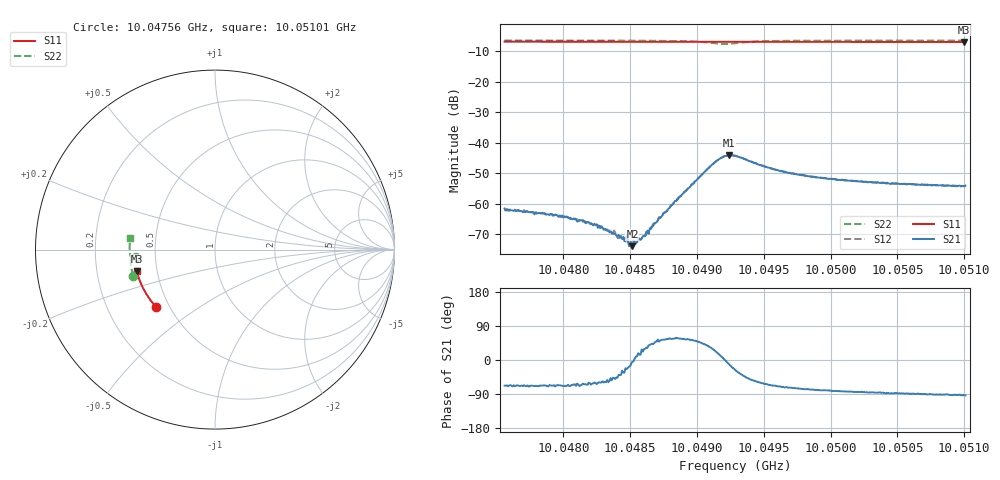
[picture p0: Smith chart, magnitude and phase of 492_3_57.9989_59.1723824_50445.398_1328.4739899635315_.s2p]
#  HZ  S  RI  R  50.00
! Rohde & Schwarz Vector Network Analyzer
! Rohde-Schwarz,ZNB20-2Port,1311601062101988,3.16
! Created: UTC 3/21/2024, 1:12:20 AM
! freq[Hz]  re:S11  im:S11  re:S21  im:S21  re:S12  im:S12  re:S22  im:S22
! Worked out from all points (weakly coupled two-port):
!   401 points, 10.04756 GHz to 10.05101 GHz, reference 50 ohm
!   highest |S21| = -44.13 dB at 10.04924 GHz (marker M1); lowest = -73.9 dB at 10.04852 GHz (marker M2)
!   lowest |S11| = -6.9 dB at 10.051 GHz (marker M3), VSWR 2.65, Z = 19.2 - j5.82 ohm
!   |S11| at or under -10 dB: nowhere
!   |S22| runs from -7.5 to -6.4 dB; largest |S21 - S12| = 0.00045
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1.004756e10  -0.3302 -0.3178  0.000318 -0.000773  0.000332 -0.000725  -0.456 -0.1463
1.0047896e10  -0.3446 -0.3009  0.00026 -0.000591  0.000295 -0.000601  -0.4617 -0.1238
1.0048138e10  -0.3545 -0.2883  0.000226 -0.000487  0.00025 -0.000484  -0.4653 -0.107
1.0048267e10  -0.3596 -0.2815  0.000223 -0.000365  0.000244 -0.000362  -0.4668 -0.0978
1.004837e10  -0.3637 -0.2761  0.000223 -0.000237  0.00024 -0.000235  -0.4678 -0.0898
1.0048414e10  -0.3653 -0.2736  0.000238 -0.000194  0.000219 -0.000159  -0.468 -0.0864
1.0048465e10  -0.3672 -0.2709  0.000224 -8.84e-05  0.000234 -0.000139  -0.4685 -0.0824
1.00485e10  -0.3686 -0.269  0.000211 -6.18e-05  0.000223 -3.15e-05  -0.4686 -0.0798
1.0048517e10  -0.3692 -0.2681  0.0002 -1.69e-05  0.000222 -3.65e-05  -0.4688 -0.0783
1.0048534e10  -0.3698 -0.2672  0.000239 1.7e-05  0.000221 1.4e-06  -0.4689 -0.0769
1.0048595e10  -0.3719 -0.2639  0.000271 0.00011  0.000257 0.00013  -0.4689 -0.072
1.0048715e10  -0.3763 -0.2572  0.000385 0.000436  0.000362 0.000482  -0.4685 -0.0611
1.0048853e10  -0.3813 -0.2494  0.000621 0.000977  0.000591 0.00105  -0.466 -0.0473
1.0049112e10  -0.3895 -0.2347  0.00376 0.00219  0.00361 0.00245  -0.4357 -0.0234
1.0049181e10  -0.3915 -0.2308  0.00559 0.000959  0.00552 0.00133  -0.4202 -0.0332
1.0049241e10  -0.3931 -0.2274  0.00609 -0.00127  0.00619 -0.000862  -0.4185 -0.0515
1.0049284e10  -0.3947 -0.2252  0.00552 -0.00269  0.00568 -0.0023  -0.4263 -0.0614
1.0049577e10  -0.4038 -0.2082  0.00139 -0.00338  0.00162 -0.00332  -0.4677 -0.0437
1.0049862e10  -0.4117 -0.1914  0.000577 -0.0027  0.000712 -0.0027  -0.4743 -0.0174
1.005044e10  -0.4254 -0.1559  9.46e-05 -0.00217  0.000208 -0.00219  -0.4753 0.0262
1.0051e10  -0.4358 -0.1208  -0.000113 -0.00194  2.19e-05 -0.00193  -0.4717 0.0647
1.0051009e10  -0.4359 -0.1202  -0.000116 -0.00198  1.05e-06 -0.00195  -0.4715 0.0653
